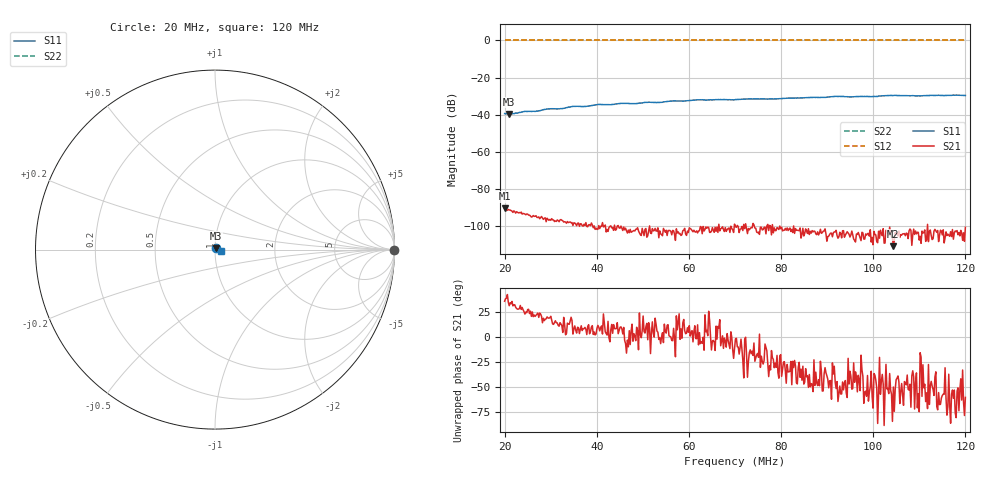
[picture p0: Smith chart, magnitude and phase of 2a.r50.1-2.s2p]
! Anritsu VNA Master:  Model: MS2036C/10/77
! SN:  1601066
! /bd0/18may26.balun/2a.r50.s2p
! Existing Calibration Information:
! TYPE:  Current Settings,  Active Cal Settings
! TIME:  05/26/2018 07:45:27 PM,  05/26/2018 07:26:54 PM
! INTERNAL TEMP:  45.0 C,  45.5 C
! # POINTS:  500,  500
! START FREQ:  20.000 MHz,  20.000 MHz
! STOP FREQ:  120.000 MHz,  120.000 MHz
! SOURCE POWER:  High,  High
! IFBW:  50 Hz,  50 Hz
! AVG FACTOR:  1 ,  1
! REF PLANE 1:  0 mm,  0 mm
! REF PLANE 2:  0 mm,  0 mm
! CAL TYPE:  Full S11,  Full S11
! CAL METHOD:  SOLT,  SOLT
! CAL LINE TYPE:  Coax,  Coax
! DUT PORT 1:  K-Conn(M),  K-Conn(M)
! DUT PORT 2:  K-Conn(M),  K-Conn(M)
! CAL STATUS:  OK: Accuracy High,  --
# GHZ S DB R 50.0
! FREQ.GHZ  S11DB  S11A  S21DB  S21A  S12DB  S12A  S22DB  S22A
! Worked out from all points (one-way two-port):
!   500 points, 20 MHz to 120 MHz, reference 50 ohm
!   highest |S21| = -90.51 dB at 20 MHz (marker M1); lowest = -110.9 dB at 104.4 MHz (marker M2)
!   lowest |S11| = -39.6 dB at 21 MHz (marker M3), VSWR 1.02, Z = 50.6 + j0.861 ohm
!   |S11| at or under -10 dB: start of sweep to end of sweep
!   |S22| runs from 0.0 to 0.0 dB; largest |S21 - S12| = 1
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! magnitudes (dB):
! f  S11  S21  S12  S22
! 20 MHz  -39.5  -90.5  0.0  0.0
! 21 MHz  -39.6  -91.4  0.0  0.0
! 24.41 MHz  -38.2  -93.6  0.0  0.0
! 27.01 MHz  -38.0  -95.4  0.0  0.0
! 29.42 MHz  -36.9  -96.5  0.0  0.0
! 32.22 MHz  -36.7  -96.6  0.0  0.0
! 34.83 MHz  -35.5  -99.8  0.0  0.0
! 36.83 MHz  -35.6  -99.8  0.0  0.0
! 40.44 MHz  -34.5  -99.8  0.0  0.0
! 42.65 MHz  -34.6  -100.9  0.0  0.0
! 45.45 MHz  -33.9  -101.3  0.0  0.0
! 48.46 MHz  -34.1  -101.9  0.0  0.0
! 50.86 MHz  -33.4  -106.1  0.0  0.0
! 53.47 MHz  -33.5  -106.4  0.0  0.0
! 62.08 MHz  -32.0  -102.7  0.0  0.0
! 70.1 MHz  -31.9  -100.4  0.0  0.0
! 86.73 MHz  -30.7  -102.5  0.0  0.0
! 92.14 MHz  -30.2  -105.2  0.0  0.0
! 100.6 MHz  -30.2  -104.9  0.0  0.0
! 103.4 MHz  -29.7  -105.0  0.0  0.0
! 104.4 MHz  -29.7  -110.9  0.0  0.0
! 120 MHz  -29.7  -100.8  0.0  0.0
